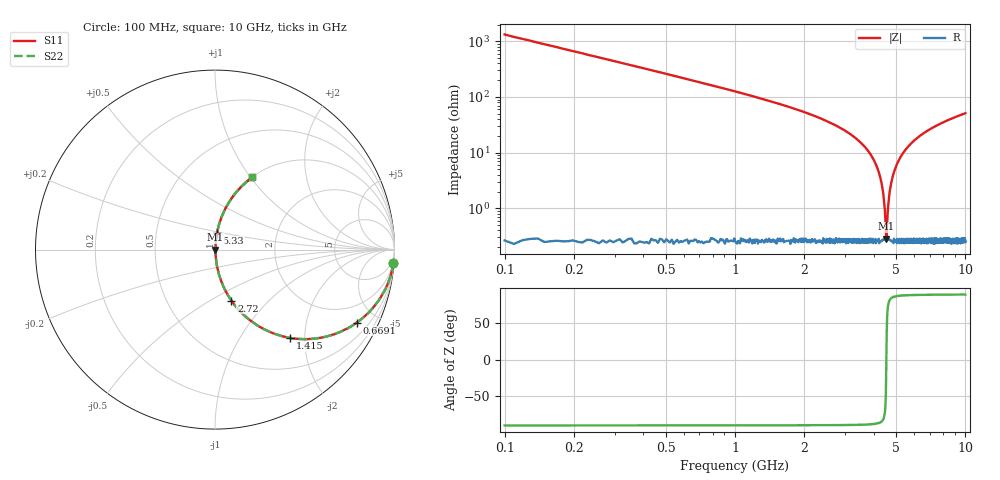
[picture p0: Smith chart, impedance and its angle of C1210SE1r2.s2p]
! AVX Thin Film Operation		Date: April 2012
! Description: Accu-P® Series, Thin Film, SMD, RF Capacitor
! Part Number: 12101J1R2PBTTR
!	100	MHz	-	10.05	GHz
!	Serial	Measurements
#	MHZ	S	MA	R	50
!	S11	S21	S12	S22
!	dB	Phase	dB	Phase	dB	Phase	dB	Phase
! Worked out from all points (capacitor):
!   1010 points, 100 MHz to 10 GHz, reference 50 ohm
!   read as one part in series: C = 1.2 pF near 149.1 MHz
!   lowest |Z| = 285 mohm at 4.535 GHz (marker M1)
!   series resonance near 4.539 GHz, so ESL is about 1 nH
!   S11 on the Smith chart (normalised r, x): 100 MHz: 1, -27; 669.1 MHz: 1.01, -3.88; 1.415 GHz: 1.01, -1.69; 2.72 GHz: 1.00, -0.63; 5.33 GHz: 1.01, +0.19; 10 GHz: 1.01, +1.02
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100  0.997 -4.3  0.075 85.7  0.075 85.7  0.997 -4.3
325.669  0.971 -13.9  0.24 76.1  0.24 76.1  0.971 -13.9
669.078  0.888 -27.3  0.458 62.7  0.458 62.7  0.888 -27.3
1414.767  0.645 -49.7  0.762 40.2  0.762 40.2  0.645 -49.7
1758.176  0.539 -57.2  0.84 32.6  0.84 32.6  0.539 -57.2
2719.722  0.298 -72.2  0.952 17.3  0.952 17.3  0.298 -72.2
3406.541  0.167 -79.5  0.983 9.6  0.983 9.6  0.167 -79.5
3906.938  0.087 -83.3  0.994 5.0  0.994 5.0  0.087 -83.3
4220.912  0.042 -84.1  0.997 2.4  0.997 2.4  0.042 -84.1
4397.522  0.019 -80.9  0.997 1.1  0.997 1.1  0.019 -80.9
4446.581  0.012 -77.1  0.997 0.7  0.997 0.7  0.012 -77.1
4505.451  0.00499 -58.5  0.997 0.2  0.997 0.2  0.00499 -58.5
4534.886  0.00264 -10.3  0.997 0.0  0.997 0.0  0.00264 -10.3
4574.133  0.00524 60.1  0.997 -0.3  0.997 -0.3  0.00524 60.1
4652.626  0.015 79.0  0.997 -0.8  0.997 -0.8  0.015 79.0
4740.932  0.026 82.7  0.997 -1.5  0.997 -1.5  0.026 82.7
5054.906  0.063 84.0  0.995 -3.6  0.995 -3.6  0.063 84.0
5329.633  0.094 83.0  0.993 -5.4  0.993 -5.4  0.094 83.0
5918.335  0.155 80.2  0.985 -8.9  0.985 -8.9  0.155 80.2
6703.271  0.227 76.2  0.971 -13.1  0.971 -13.1  0.227 76.2
8351.635  0.354 68.9  0.933 -20.7  0.933 -20.7  0.354 68.9
10000  0.454 62.7  0.889 -27.0  0.889 -27.0  0.454 62.7
